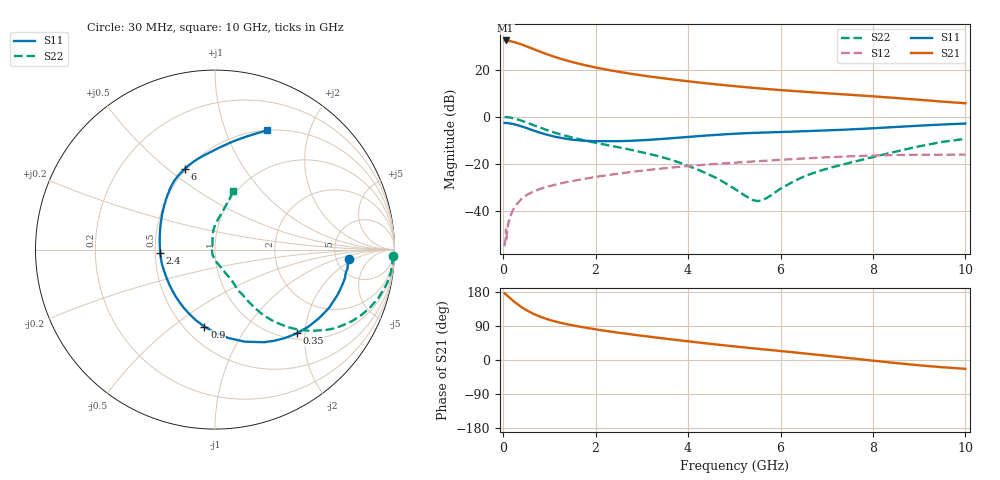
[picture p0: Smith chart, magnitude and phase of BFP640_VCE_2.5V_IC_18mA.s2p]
! Infineon Technologies  Discrete & RF Semiconductors
! BFP640
! VCE =  2.5 V,  IC =  18 mA
! Common Emitter S-Parameters:  Apr 2013
# GHz  S  MA  R  50
!  f  S11  S21  S12  S22
! GHz  MAG  ANG  MAG  ANG  MAG  ANG  MAG  ANG
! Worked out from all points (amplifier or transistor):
!   99 points, 30 MHz to 10 GHz, reference 50 ohm
!   highest |S21| = 32.5 dB at 50 MHz (marker M1)
!   |S21| within 3 dB of that: start of sweep to 568.8 MHz
!   unconditionally stable (mu >= 1): 2.908 GHz to end of sweep
!   at 350 MHz: K = 0.25, MSG = 33.4 dB, |S12| = -35.8 dB
!   at 3.5 GHz: K = 1.03, MAG = 18.0 dB, |S12| = -21.8 dB
!   at 10 GHz: K = 1.08, MAG = 9.2 dB, |S12| = -16.0 dB
!   S11 on the Smith chart (normalised r, x): 30 MHz: 6.58, -1.52; 350 MHz: 1.12, -1.82; 900 MHz: 0.62, -0.66; 2.4 GHz: 0.53, -0.02; 6 GHz: 0.49, +0.57; 10 GHz: 0.50, +1.41
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0.03  0.7482 -3.9  42.11 175.9  0.0018 75.8  0.9909 -2.0
0.05  0.7441 -6.4  42.22 174.0  0.0024 120.6  0.9904 -3.8
0.13  0.732 -17.7  41.13 165.2  0.0062 78.3  0.977 -10.9
0.2  0.7138 -27.0  39.71 157.9  0.0101 76.3  0.9486 -16.6
0.25  0.6944 -33.4  38.67 152.8  0.0126 76.3  0.9228 -20.4
0.35  0.6522 -45.7  36.01 143.6  0.0163 71.1  0.8633 -27.4
0.45  0.6062 -56.9  33.2 135.4  0.0201 67.4  0.7999 -33.2
0.6  0.5385 -72.2  29.08 125.0  0.0246 62.9  0.7037 -40.1
0.7  0.4982 -81.4  26.61 119.2  0.0271 60.3  0.645 -43.8
0.8  0.4634 -89.9  24.35 114.3  0.0297 58.8  0.5942 -46.7
0.9  0.4329 -97.8  22.41 109.8  0.0317 57.7  0.5465 -49.1
1.1  0.3847 -112.2  19.12 102.5  0.0359 55.5  0.469 -52.8
1.2  0.3672 -118.6  17.77 99.4  0.0379 54.7  0.438 -54.1
1.4  0.3401 -130.5  15.55 94.0  0.0419 53.5  0.3872 -55.9
1.7  0.3156 -146.6  13.08 87.0  0.0474 52.1  0.3278 -57.5
2.4  0.3057 -176.6  9.48 73.7  0.0606 48.1  0.2366 -60.7
3.4  0.3395 152.3  6.757 57.9  0.0797 41.2  0.1427 -66.0
5.1  0.4448 120.7  4.427 34.6  0.1084 27.7  0.0261 -125.5
6  0.4785 110.7  3.729 23.6  0.123 20.7  0.03 117.9
6.7  0.5065 103.1  3.337 15.0  0.1342 14.6  0.0638 101.9
8.5  0.6134 80.2  2.529 -8.1  0.1553 -3.0  0.184 82.3
10  0.7255 66.3  1.957 -23.3  0.1592 -14.7  0.3434 72.9
